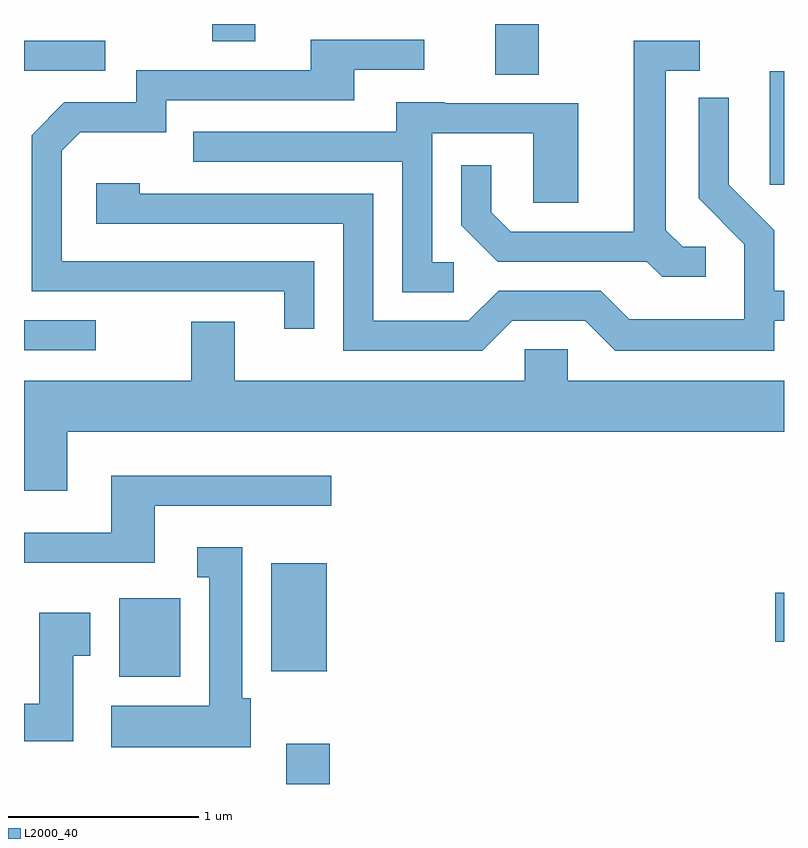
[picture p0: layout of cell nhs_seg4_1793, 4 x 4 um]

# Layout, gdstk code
import gdstk
lib = gdstk.Library(unit=1e-6, precision=1e-09)
def R(c, l, rs):  # rectangles x0, y0, x1, y1
    for r in rs: c.add(gdstk.rectangle(r[:2], r[2:], *l))
def P(c, l, *ps):  # polygons
    for p in ps: c.add(gdstk.Polygon(p, *l))
L2000_40 = (2000, 40)

nhs_seg4_1793 = lib.new_cell('nhs_seg4_1793')
R(nhs_seg4_1793, L2000_40, [(238.991,1303.982,239.219,1304.194), (238.111,1304.546,238.434,1304.959), (238.911,1304.576,239.204,1305.144), (241.566,1304.731,241.611,1304.989), (237.611,1306.266,237.988,1306.424), (241.536,1307.136,241.611,1307.734), (240.091,1307.716,240.319,1307.982), (237.611,1307.736,238.038,1307.894), (238.601,1307.891,238.829,1307.982)])
P(nhs_seg4_1793, L2000_40, [(239.139,1306.734),(237.809,1306.734),(237.809,1307.314),(237.907,1307.411),(238.359,1307.411),(238.359,1307.581),(239.349,1307.581),(239.349,1307.741),(239.718,1307.741),(239.718,1307.899),(239.121,1307.899),(239.121,1307.739),(238.201,1307.739),(238.201,1307.569),(237.824,1307.569),(237.651,1307.397),(237.651,1306.576),(238.981,1306.576),(238.981,1306.378),(239.139,1306.378)],
  [(241.198,1306.809),(241.077,1306.809),(240.989,1306.897),(240.989,1307.736),(241.168,1307.736),(241.168,1307.894),(240.821,1307.894),(240.821,1306.889),(240.172,1306.889),(240.069,1306.992),(240.069,1307.238),(239.911,1307.238),(239.911,1306.924),(240.104,1306.731),(240.889,1306.731),(240.969,1306.651),(241.198,1306.651)],
  [(240.182,1306.421),(240.564,1306.421),(240.724,1306.261),(241.559,1306.261),(241.559,1306.421),(241.611,1306.421),(241.611,1306.579),(241.559,1306.579),(241.559,1306.897),(241.319,1307.137),(241.319,1307.593),(241.161,1307.593),(241.161,1307.064),(241.401,1306.824),(241.401,1306.429),(240.797,1306.429),(240.647,1306.579),(240.109,1306.579),(239.949,1306.419),(239.449,1306.419),(239.449,1307.089),(238.219,1307.089),(238.219,1307.144),(237.991,1307.144),(237.991,1306.931),(239.291,1306.931),(239.291,1306.261),(240.022,1306.261)],
  [(239.873,1306.729),(239.759,1306.729),(239.759,1307.406),(240.291,1307.406),(240.291,1307.041),(240.529,1307.041),(240.529,1307.564),(239.825,1307.564),(239.825,1307.569),(239.571,1307.569),(239.571,1307.414),(238.503,1307.414),(238.503,1307.256),(239.601,1307.256),(239.601,1306.571),(239.873,1306.571)],
  [(237.839,1305.836),(241.611,1305.836),(241.611,1306.104),(240.474,1306.104),(240.474,1306.269),(240.246,1306.269),(240.246,1306.104),(238.719,1306.104),(238.719,1306.414),(238.491,1306.414),(238.491,1306.104),(237.611,1306.104),(237.611,1305.526),(237.839,1305.526)],
  [(238.299,1305.446),(239.228,1305.446),(239.228,1305.604),(238.071,1305.604),(238.071,1305.304),(237.611,1305.304),(237.611,1305.146),(238.299,1305.146)],
  [(238.804,1304.434),(238.759,1304.434),(238.759,1305.229),(238.523,1305.229),(238.523,1305.071),(238.586,1305.071),(238.586,1304.394),(238.071,1304.394),(238.071,1304.176),(238.804,1304.176)],
  [(237.869,1304.656),(237.959,1304.656),(237.959,1304.884),(237.691,1304.884),(237.691,1304.404),(237.611,1304.404),(237.611,1304.206),(237.869,1304.206)])

lib.write_gds('nhs_seg4_1793.gds')
